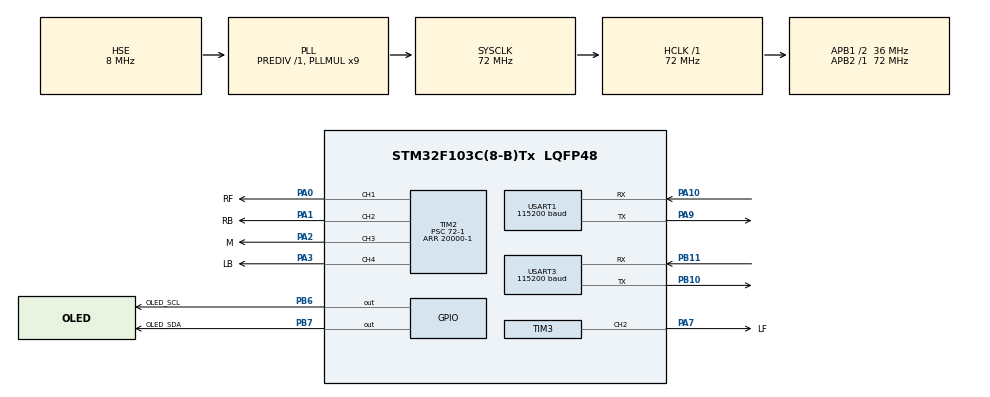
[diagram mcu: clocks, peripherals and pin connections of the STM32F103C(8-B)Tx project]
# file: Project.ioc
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Dma.Request0=USART3_RX
Dma.Request1=USART3_TX
Dma.USART3_RX.0.Direction=DMA_PERIPH_TO_MEMORY
Dma.USART3_RX.0.Instance=DMA1_Channel3
Dma.USART3_RX.0.MemDataAlignment=DMA_MDATAALIGN_BYTE
Dma.USART3_RX.0.MemInc=DMA_MINC_ENABLE
Dma.USART3_RX.0.Mode=DMA_CIRCULAR
Dma.USART3_RX.0.PeriphDataAlignment=DMA_PDATAALIGN_BYTE
Dma.USART3_RX.0.PeriphInc=DMA_PINC_DISABLE
Dma.USART3_RX.0.Priority=DMA_PRIORITY_LOW
Dma.USART3_TX.1.Direction=DMA_MEMORY_TO_PERIPH
Dma.USART3_TX.1.Instance=DMA1_Channel2
Dma.USART3_TX.1.MemDataAlignment=DMA_MDATAALIGN_BYTE
Dma.USART3_TX.1.MemInc=DMA_MINC_ENABLE
Dma.USART3_TX.1.Mode=DMA_NORMAL
Dma.USART3_TX.1.PeriphDataAlignment=DMA_PDATAALIGN_BYTE
Dma.USART3_TX.1.PeriphInc=DMA_PINC_DISABLE
Dma.USART3_TX.1.Priority=DMA_PRIORITY_LOW
Mcu.Family=STM32F1
Mcu.Name=STM32F103C(8-B)Tx
Mcu.Package=LQFP48
NVIC.DMA1_Channel2_IRQn=true\:0\:0\:false\:false\:true\:false\:true\:true
NVIC.DMA1_Channel3_IRQn=true\:0\:0\:false\:false\:true\:false\:true\:true
NVIC.PriorityGroup=NVIC_PRIORITYGROUP_4
NVIC.TIM4_IRQn=true\:0\:0\:false\:false\:true\:true\:true\:true
NVIC.USART1_IRQn=true\:0\:0\:false\:false\:true\:true\:true\:true
NVIC.USART3_IRQn=true\:0\:0\:false\:false\:true\:true\:true\:true
PA0.GPIO_Label=RF
PA0.Signal=S_TIM2_CH1_ETR
PA1.GPIO_Label=RB
PA1.Signal=S_TIM2_CH2
PA10.GPIO_PuPd=GPIO_PULLUP
PA10.Mode=Asynchronous
PA10.Signal=USART1_RX
PA13.Mode=Serial_Wire
PA13.Signal=SYS_JTMS-SWDIO
PA14.Mode=Serial_Wire
PA14.Signal=SYS_JTCK-SWCLK
PA2.GPIO_Label=M
PA2.Signal=S_TIM2_CH3
PA3.GPIO_Label=LB
PA3.Signal=S_TIM2_CH4
PA7.GPIO_Label=LF
PA7.Signal=S_TIM3_CH2
PA9.Mode=Asynchronous
PA9.Signal=USART1_TX
PB10.Mode=Asynchronous
PB10.Signal=USART3_TX
PB11.Mode=Asynchronous
PB11.Signal=USART3_RX
PB6.GPIO_Label=OLED_SCL
PB6.GPIO_ModeDefaultOutputPP=GPIO_MODE_OUTPUT_OD
PB6.GPIO_PuPd=GPIO_NOPULL
PB6.Signal=GPIO_Output
PB7.GPIO_Label=OLED_SDA
PB7.GPIO_ModeDefaultOutputPP=GPIO_MODE_OUTPUT_OD
PB7.GPIO_PuPd=GPIO_NOPULL
PB7.Signal=GPIO_Output
PC14-OSC32_IN.Mode=LSE-External-Oscillator
PC14-OSC32_IN.Signal=RCC_OSC32_IN
PC15-OSC32_OUT.Mode=LSE-External-Oscillator
PC15-OSC32_OUT.Signal=RCC_OSC32_OUT
PD0-OSC_IN.Mode=HSE-External-Oscillator
PD0-OSC_IN.Signal=RCC_OSC_IN
PD1-OSC_OUT.Mode=HSE-External-Oscillator
PD1-OSC_OUT.Signal=RCC_OSC_OUT
ProjectManager.HeapSize=0x200
ProjectManager.StackSize=0x400
ProjectManager.TargetToolchain=MDK-ARM V5.32
RCC.AHBFreq_Value=72000000
RCC.APB1CLKDivider=RCC_HCLK_DIV2
RCC.APB1Freq_Value=36000000
RCC.APB1TimFreq_Value=72000000
RCC.APB2Freq_Value=72000000
RCC.APB2TimFreq_Value=72000000
RCC.HCLKFreq_Value=72000000
RCC.PLLMUL=RCC_PLL_MUL9
RCC.PLLSourceVirtual=RCC_PLLSOURCE_HSE
RCC.SYSCLKFreq_VALUE=72000000
RCC.SYSCLKSource=RCC_SYSCLKSOURCE_PLLCLK
RCC.USBFreq_Value=72000000
SH.S_TIM2_CH1_ETR.0=TIM2_CH1,PWM Generation1 CH1
SH.S_TIM2_CH2.0=TIM2_CH2,PWM Generation2 CH2
SH.S_TIM2_CH3.0=TIM2_CH3,PWM Generation3 CH3
SH.S_TIM2_CH4.0=TIM2_CH4,PWM Generation4 CH4
SH.S_TIM3_CH2.0=TIM3_CH2,PWM Generation2 CH2
TIM2.Channel-PWM\ Generation1\ CH1=TIM_CHANNEL_1
TIM2.Channel-PWM\ Generation2\ CH2=TIM_CHANNEL_2
TIM2.Channel-PWM\ Generation3\ CH3=TIM_CHANNEL_3
TIM2.Channel-PWM\ Generation4\ CH4=TIM_CHANNEL_4
TIM2.Period=20000-1
TIM2.Prescaler=72-1
TIM3.Channel-PWM\ Generation2\ CH2=TIM_CHANNEL_2
TIM3.Period=20000-1
TIM3.Prescaler=72-1
TIM4.Period=10-1
TIM4.Prescaler=7200-1
USART1.BaudRate=115200
USART1.VirtualMode=VM_ASYNC
USART3.BaudRate=115200
USART3.VirtualMode=VM_ASYNC
VP_TIM2_VS_ClockSourceINT.Mode=Internal
VP_TIM3_VS_ClockSourceINT.Mode=Internal
VP_TIM4_VS_ClockSourceINT.Mode=Internal
board=custom

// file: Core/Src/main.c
/* USER CODE BEGIN Header */
/**
  ******************************************************************************
  * @file           : main.c
  * @brief          : Main program body
  ******************************************************************************
  */
/* USER CODE END Header */
#include "main.h"
#include "dma.h"
#include "tim.h"
#include "usart.h"
#include "gpio.h"

/* USER CODE BEGIN Includes */
#include "stdio.h"
#include "OLED.h"
#include "Servo.h"
#include "RobotControl.h"
#include "Move.h"
#include <time.h>
#include <stdlib.h>
volatile uint16_t OLED_Slow_Down = 0;
char display_buf[32];
char buf[32];

/* USER CODE END Includes */

void SystemClock_Config(void);

/* USER CODE BEGIN 0 */
void OLED_Proc(void){
	if(OLED_Slow_Down <= 100) return;
	OLED_Slow_Down = 0;

	/*图案处理*/
	switch(Face_Mode)
	{
		case 0:
			OLED_Clear();
			OLED_ShowImage(0,0,128,64,Face_sleep);//睡觉
		break;

		case 1:
			OLED_Clear();
			OLED_ShowImage(0,0,128,64,Face_stare);//Ω
		break;

		case 2:
			OLED_Clear();
			OLED_ShowImage(0,0,128,64,Face_happy);//><
		break;

		case 3:
			OLED_Clear();
			OLED_ShowImage(0,0,128,64,Face_mania);//火火火
		break;

		case 4:
			OLED_Clear();
			OLED_ShowImage(0,0,128,64,Face_very_happy);//非常快乐
		break;

		case 5:
			OLED_Clear();
			OLED_ShowImage(0,0,128,64,Face_eyes);//眼睛
		break;

		case 6:
			OLED_Clear();
			OLED_ShowImage(0,0,128,64,Face_hello);//神奇的小表情
		break;
	}
	OLED_Update();
}

void HAL_TIM_PeriodElapsedCallback(TIM_HandleTypeDef *htim){
    if(htim->Instance == htim4.Instance){  // 1毫秒定时器
		OLED_Slow_Down++;
	}
}

/* USER CODE END 0 */

int main(void)
{

  /* MCU Configuration--------------------------------------------------------*/

  /* Reset of all peripherals, Initializes the Flash interface and the Systick. */
  HAL_Init();

  /* Configure the system clock */
  SystemClock_Config();

  /* Initialize all configured peripherals */
  MX_GPIO_Init();
  MX_DMA_Init();
  MX_TIM4_Init();
  MX_USART1_UART_Init();
  MX_USART3_UART_Init();
  MX_TIM3_Init();
  MX_TIM2_Init();
  /* USER CODE BEGIN 2 */

	HAL_Delay(500);//等待屏幕供电稳定

	OLED_Init();  // OLED屏幕初始化

	OLED_Clear();
	OLED_ShowImage(0, 0, 64, 64, PDX);
	OLED_ShowImage(64, 0, 64, 64, Liu);
	OLED_Update();

	HAL_Delay(3000);

	Servo_Init();// 初始化舵机
	Move_Init();
    Move_Start_Continuous(MOVE_SLEEP, 1);

	RobotControl_Init();

	HAL_TIM_Base_Start_IT(&htim4);  // 开启定时器4定时中断
  /* USER CODE END 2 */

  /* Infinite loop */
  /* USER CODE BEGIN WHILE */
  while (1)
  {
	  /* 非阻塞式处理各个任务 */
	  RobotControl_Process();
	  OLED_Proc();         // OLED显示处理
	  Move_Process();      // 运动控制处理
    /* USER CODE END WHILE */

  }
}

void SystemClock_Config(void)
{
  RCC_OscInitTypeDef RCC_OscInitStruct = {0};
  RCC_ClkInitTypeDef RCC_ClkInitStruct = {0};

  /** Initializes the RCC Oscillators according to the specified parameters
  * in the RCC_OscInitTypeDef structure.
  */
  RCC_OscInitStruct.OscillatorType = RCC_OSCILLATORTYPE_HSE;
  RCC_OscInitStruct.HSEState = RCC_HSE_ON;
  RCC_OscInitStruct.HSEPredivValue = RCC_HSE_PREDIV_DIV1;
  RCC_OscInitStruct.HSIState = RCC_HSI_ON;
  RCC_OscInitStruct.PLL.PLLState = RCC_PLL_ON;
  RCC_OscInitStruct.PLL.PLLSource = RCC_PLLSOURCE_HSE;
  RCC_OscInitStruct.PLL.PLLMUL = RCC_PLL_MUL9;
  if (HAL_RCC_OscConfig(&RCC_OscInitStruct) != HAL_OK)
  {
    Error_Handler();
  }

  /** Initializes the CPU, AHB and APB buses clocks
  */
  RCC_ClkInitStruct.ClockType = RCC_CLOCKTYPE_HCLK|RCC_CLOCKTYPE_SYSCLK
                              |RCC_CLOCKTYPE_PCLK1|RCC_CLOCKTYPE_PCLK2;
  RCC_ClkInitStruct.SYSCLKSource = RCC_SYSCLKSOURCE_PLLCLK;
  RCC_ClkInitStruct.AHBCLKDivider = RCC_SYSCLK_DIV1;
  RCC_ClkInitStruct.APB1CLKDivider = RCC_HCLK_DIV2;
  RCC_ClkInitStruct.APB2CLKDivider = RCC_HCLK_DIV1;

  if (HAL_RCC_ClockConfig(&RCC_ClkInitStruct, FLASH_LATENCY_2) != HAL_OK)
  {
    Error_Handler();
  }
}

void Error_Handler(void)
{
  __disable_irq();
  while (1)
  {
  }
}
